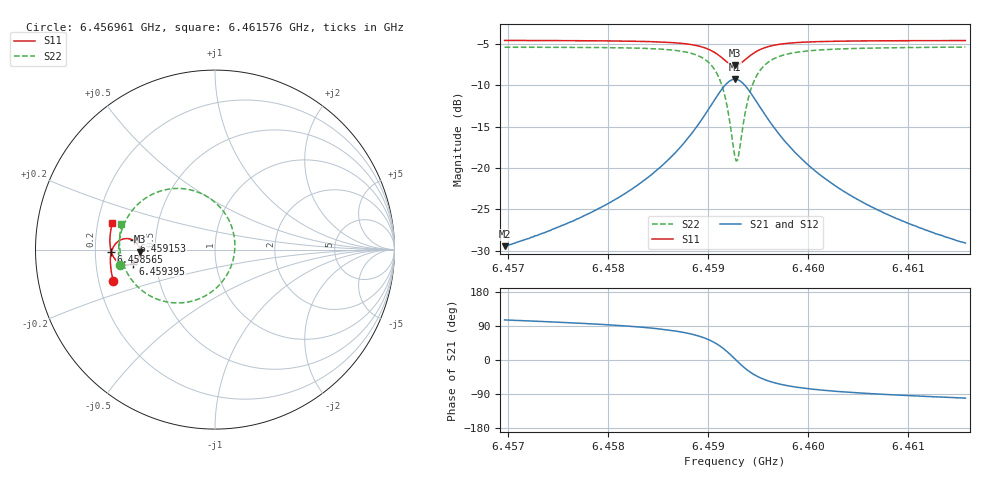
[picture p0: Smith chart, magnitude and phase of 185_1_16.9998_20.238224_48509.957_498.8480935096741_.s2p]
#  HZ  S  RI  R  50.00
! Rohde & Schwarz Vector Network Analyzer
! Rohde-Schwarz,ZNB20-2Port,1311601062101988,3.16
! Created: UTC 3/20/2024, 11:00:19 PM
! freq[Hz]  re:S11  im:S11  re:S21  im:S21  re:S12  im:S12  re:S22  im:S22
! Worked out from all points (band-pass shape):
!   401 points, 6.456961 GHz to 6.461576 GHz, reference 50 ohm
!   highest |S21| = -9.24 dB at 6.459269 GHz (marker M1); lowest = -29.5 dB at 6.456961 GHz (marker M2)
!   |S21| within 3 dB of the highest: 6.459038 GHz to 6.459499 GHz (461 kHz wide, 0.00714 % of centre)
!   lowest |S11| = -7.6 dB at 6.459269 GHz (marker M3), VSWR 2.44, Z = 20.5 - j0.595 ohm
!   |S11| at or under -10 dB: nowhere
!   |S22| runs from -19.1 to -5.4 dB; largest |S21 - S12| = 0.013
!   S11 on the Smith chart (normalised r, x): 6.456961 GHz: 0.26, -0.14; 6.458565 GHz: 0.27, -0.01; 6.459153 GHz: 0.37, +0.05; 6.459395 GHz: 0.37, -0.07; 6.461576 GHz: 0.26, +0.12
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6.4569614e9  -0.5658 -0.1746  -0.00915 0.0324  -0.00734 0.0322  -0.5311 -0.0884
6.4577343e9  -0.5801 -0.1072  -0.00594 0.0502  -0.00331 0.0497  -0.5374 0.00174
6.4581496e9  -0.5833 -0.0658  -0.000319 0.069  0.00302 0.0677  -0.5299 0.0671
6.4585072e9  -0.5796 -0.0231  0.0137 0.0984  0.0176 0.0959  -0.5046 0.1471
6.4585649e9  -0.5778 -0.0152  0.0178 0.1055  0.022 0.1025  -0.4967 0.1637
6.4587725e9  -0.5649 0.017  0.0453 0.138  0.0495 0.1331  -0.4456 0.2366
6.4589225e9  -0.5425 0.0434  0.0904 0.1687  0.0936 0.1621  -0.3627 0.3014
6.4590609e9  -0.4986 0.0612  0.1774 0.1857  0.1785 0.1783  -0.2037 0.3408
6.4591532e9  -0.4539 0.0511  0.2674 0.1548  0.2678 0.1488  -0.0372 0.2913
6.4592224e9  -0.4247 0.019  0.3282 0.0829  0.3303 0.0778  0.0785 0.1622
6.4592686e9  -0.4178 -0.012  0.3446 0.0151  0.3483 0.00828  0.1109 0.0355
6.4592801e9  -0.4183 -0.0201  0.3445 -0.00271  0.3484 -0.0102  0.1104 0.00195
6.4593032e9  -0.4217 -0.0357  0.339 -0.0373  0.3428 -0.0464  0.0995 -0.0636
6.4593493e9  -0.4374 -0.0618  0.3106 -0.0972  0.3128 -0.1089  0.042 -0.1765
6.4593955e9  -0.4594 -0.078  0.2686 -0.138  0.2679 -0.1513  -0.0425 -0.2511
6.4594878e9  -0.5028 -0.085  0.1841 -0.1694  0.178 -0.1808  -0.2107 -0.2975
6.4596377e9  -0.5466 -0.0645  0.0965 -0.1557  0.088 -0.1618  -0.3777 -0.2484
6.4597992e9  -0.5682 -0.0367  0.0517 -0.1281  0.0441 -0.1309  -0.4578 -0.177
6.4600415e9  -0.581 -0.00134  0.0225 -0.0968  0.0167 -0.0974  -0.5058 -0.0948
6.460376e9  -0.5856 0.0386  0.00675 -0.0709  0.00271 -0.0704  -0.5273 -0.0183
6.4608144e9  -0.5837 0.0825  -0.00128 -0.0516  -0.00409 -0.0509  -0.5319 0.052
6.4615758e9  -0.5717 0.15  -0.00644 -0.0345  -0.00814 -0.0335  -0.521 0.1418
